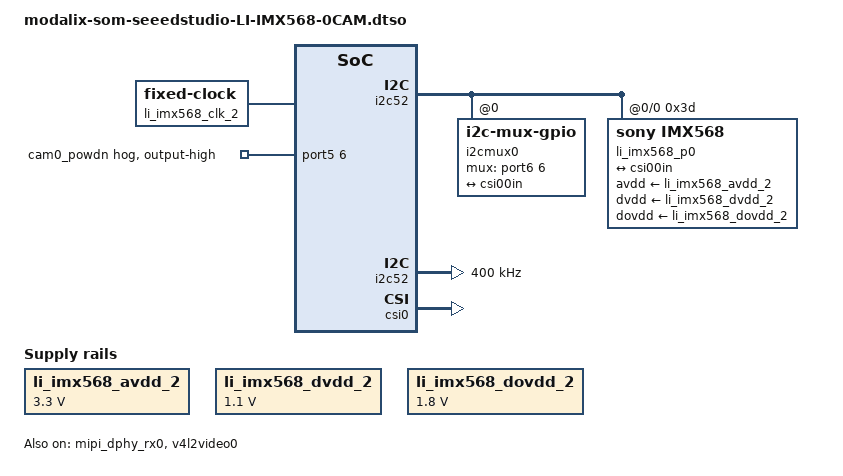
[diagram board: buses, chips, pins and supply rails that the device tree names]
// SPDX-License-Identifier: (GPL-2.0+ OR MIT)
/*
 * Copyright (c) 2026 SiMa ai
 *
 * li-imx568 (direct Sony imx568, sony,imx568) on modalix seeedstudio SoM csi0,
 * CSI-2 controller mode, i2c addr 0x3d, RAW12 1920x1080 first.
 */

/dts-v1/;
/plugin/;

&{/} {
    li_imx568_avdd_2: csi0_fixedregulator@0 {
        compatible = "regulator-fixed";
        regulator-name = "li_imx568_avdd_2";
        regulator-min-microvolt = <3300000>;
        regulator-max-microvolt = <3300000>;
        enable-active-high;
        startup-delay-us = <300000>;
        regulator-always-on;
    };

    li_imx568_dvdd_2: csi0_fixedregulator@1 {
        compatible = "regulator-fixed";
        regulator-name = "li_imx568_dvdd_2";
        regulator-min-microvolt = <1100000>;
        regulator-max-microvolt = <1100000>;
        regulator-always-on;
    };

    li_imx568_dovdd_2: csi0_fixedregulator@2 {
        compatible = "regulator-fixed";
        regulator-name = "li_imx568_dovdd_2";
        regulator-min-microvolt = <1800000>;
        regulator-max-microvolt = <1800000>;
        regulator-always-on;
    };

    li_imx568_clk_2: csi0_camera-clk {
        compatible = "fixed-clock";
        #clock-cells = <0>;
        clock-frequency = <37125000>;
    };

    i2cmux0: i2cmux@0 {
        compatible = "i2c-mux-gpio";
        i2c-parent = <&i2c52>;
        #address-cells = <1>;
        #size-cells = <0>;
        /* Set port6 gpio6 to GPIO_ACTIVE_LOW mode */
        mux-gpios = <&port6 6 0>;

        i2cmux0p0: i2c@0 {
            reg = <0>;
            #address-cells = <1>;
            #size-cells = <0>;
        };
    };
};

&port5 {
        cam-hog0 {
                gpio-hog;
                /* Set port5 gpio6 to GPIO_ACTIVE_HIGH mode */
                gpios = <6 0>;
                output-high;
                line-name = "cam0_powdn";
        };
};

&i2c52 {
    status = "okay";
    clock-frequency = <400000>;
    #address-cells = <1>;
    #size-cells = <0>;
};

/* csi0 controller mode; bt-* porches are a 1080p starting point, tune per board. */
&csi0 {
    status = "okay";
    simaai,bt-pixelclock = /bits/ 64 <500000000>;
    simaai,bt-hsync = <2>;
    simaai,bt-hbackporch = <100>;
    simaai,bt-hfrontporch = <1548>;
    simaai,bt-vsync = <1>;
    simaai,bt-vbackporch = <68>;
    simaai,bt-vfrontporch = <1>;
    simaai,ipi-controller-mode = <1>;
    simaai,ipi-emb-data-enable = <0>;
};

&axi_vdma0 {
    status = "okay";
};

&mipi_dphy_rx0 {
    status = "okay";
};

&v4l2video0 {
    status = "okay";
};

&v4l2vdma0 {
    status = "okay";
};

&csi00in {
    clock-lanes = <0>;
    data-lanes = <1 2>;
    link-frequencies = /bits/ 64 <594000000>;
    remote-endpoint = <&cam00out>;
    clock-continuous;
};

&i2cmux0p0 {
        li_imx568_p0: imx568@3d {
                compatible = "sony,imx568";
                /* sensor stream-on takes ~600 ms; do not free-run the IPI before it */
                simaai,ipi-enable-delay-ms = <800>;
                reg = <0x3d>;

                clocks = <&li_imx568_clk_2>;
                clock-names = "inck";

                avdd-supply = <&li_imx568_avdd_2>;
                dvdd-supply = <&li_imx568_dvdd_2>;
                dovdd-supply = <&li_imx568_dovdd_2>;

                port {
                        cam00out: endpoint {
                                clock-lanes = <0>;
                                data-lanes = <1 2>;
                                link-frequencies = /bits/ 64 <594000000>;
                                remote-endpoint = <&csi00in>;
                                clock-continuous;
                        };
                };
        };
};
